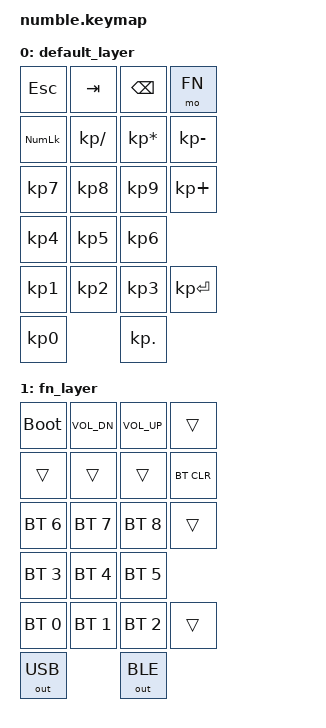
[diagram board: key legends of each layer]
#include <behaviors.dtsi>
#include <dt-bindings/zmk/keys.h>
#include <dt-bindings/zmk/bt.h>
#include <dt-bindings/zmk/outputs.h>

// Key code aliases (for better keymap alignment)
#define KP_DIV KP_DIVIDE
#define KP_MULT KP_MULTIPLY

// Layers
#define DEFAULT 0
#define FN 1

/ {
    chosen {
        zmk,matrix_transform = &transform_numpad_21;
        // zmk,battery = &fuel_gauge;
    };

    keymap {
        compatible = "zmk,keymap";

        default_layer {
            bindings = <
                &kp ESC    &kp TAB    &kp BSPC    &mo FN
                &kp KP_NUM &kp KP_DIV &kp KP_MULT &kp KP_MINUS
                &kp KP_N7  &kp KP_N8  &kp KP_N9   &kp KP_PLUS
                &kp KP_N4  &kp KP_N5  &kp KP_N6
                &kp KP_N1  &kp KP_N2  &kp KP_N3   &kp KP_ENTER
                &kp KP_N0             &kp KP_DOT
            >;
        };

        fn_layer {
            bindings = <
                &bootloader  &kp C_VOL_DN &kp C_VOL_UP &trans
                &trans       &trans       &trans       &bt BT_CLR
                &bt BT_SEL 6 &bt BT_SEL 7 &bt BT_SEL 8 &trans
                &bt BT_SEL 3 &bt BT_SEL 4 &bt BT_SEL 5
                &bt BT_SEL 0 &bt BT_SEL 1 &bt BT_SEL 2 &trans
                &out OUT_USB              &out OUT_BLE
            >;
        };
    };
};

&fuel_gauge {
    design-capacity = <1200>;
};
